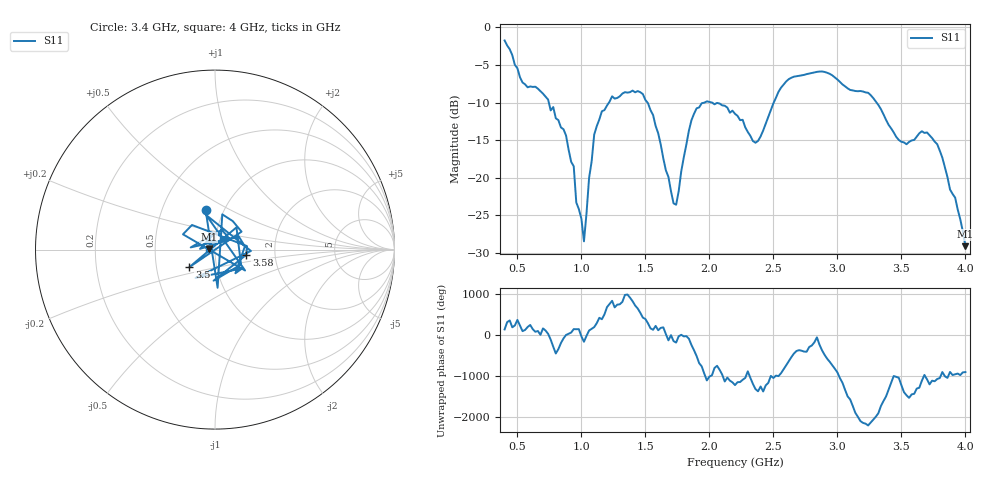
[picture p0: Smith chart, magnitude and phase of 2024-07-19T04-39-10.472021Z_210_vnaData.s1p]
!Created with skrf (http://scikit-rf.org).
# Hz S RI R 50.0
!freq ReS11 ImS11
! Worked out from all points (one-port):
!   181 points, 400 MHz to 4 GHz, reference 50 ohm
!   lowest |S11| = -29.1 dB at 4 GHz (marker M1), VSWR 1.07, Z = 46.6 + j0.342 ohm
!   |S11| at or under -10 dB: 745.6 MHz to 1.215 GHz (469.3 MHz wide, 47.9 % of centre); 2.022 GHz to 2.502 GHz (480.8 MHz wide, 21.3 % of centre); 3.307 GHz to end of sweep (the widest 3 of 4)
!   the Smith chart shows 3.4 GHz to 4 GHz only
!   S11 on the Smith chart (normalised r, x): 3.4 GHz: 0.82, +0.38; 3.5 GHz: 0.74, -0.15; 3.58 GHz: 1.42, -0.08; 4 GHz: 0.93, +0.01
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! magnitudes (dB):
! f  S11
! 400 MHz  -1.7
! 540 MHz  -7.3
! 700 MHz  -8.8
! 860 MHz  -13.5
! 940 MHz  -18.5
! 960 MHz  -23.3
! 1.02 GHz  -28.4
! 1.1 GHz  -14.2
! 1.16 GHz  -11.1
! 1.3 GHz  -9.2
! 1.48 GHz  -8.9
! 1.56 GHz  -11.7
! 1.72 GHz  -23.4
! 1.76 GHz  -21.8
! 1.84 GHz  -13.7
! 1.9 GHz  -10.8
! 2.2 GHz  -11.5
! 2.36 GHz  -15.3
! 2.66 GHz  -6.5
! 2.9 GHz  -5.9
! 3.1 GHz  -8.3
! 3.24 GHz  -8.7
! 3.4 GHz  -12.9
! 3.5 GHz  -15.2
! 3.56 GHz  -15.2
! 3.58 GHz  -15.0
! 3.78 GHz  -15.5
! 4 GHz  -29.1
